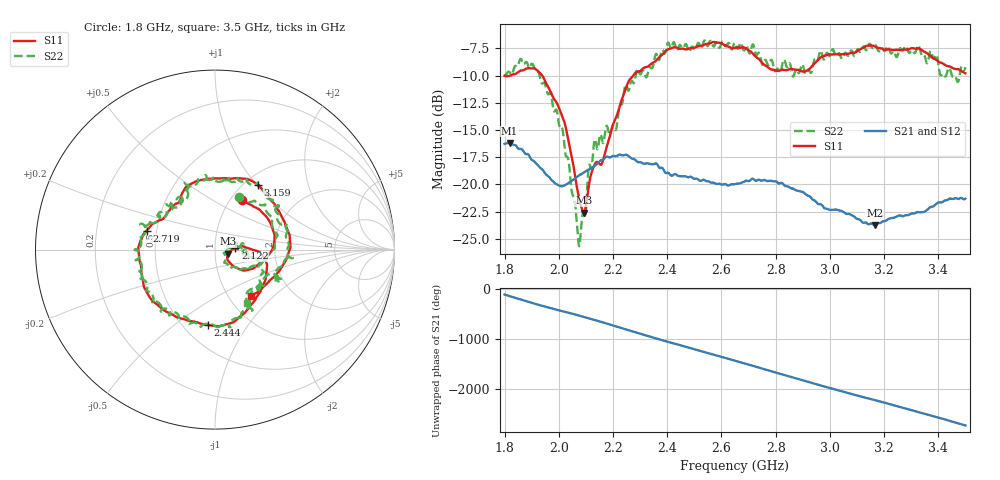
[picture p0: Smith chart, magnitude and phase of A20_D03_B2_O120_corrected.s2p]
! Created with skrf 1.9.0 (http://scikit-rf.org).
# Hz S RI R 50.0
!freq ReS11 ImS11 ReS21 ImS21 ReS12 ImS12 ReS22 ImS22
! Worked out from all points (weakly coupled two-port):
!   1601 points, 1.8 GHz to 3.5 GHz, reference 50 ohm
!   highest |S21| = -16.18 dB at 1.818 GHz (marker M1); lowest = -23.7 dB at 3.165 GHz (marker M2)
!   lowest |S11| = -22.6 dB at 2.092 GHz (marker M3), VSWR 1.16, Z = 57.6 - j2.55 ohm
!   |S11| at or under -10 dB: start of sweep to 1.821 GHz; 1.939 GHz to 2.274 GHz (335.4 MHz wide, 15.9 % of centre)
!   |S22| runs from -25.7 to -6.8 dB; largest |S21 - S12| = 0.0027
!   S11 on the Smith chart (normalised r, x): 1.8 GHz: 1.13, +0.69; 2.122 GHz: 1.26, +0.02; 2.444 GHz: 0.66, -0.67; 2.719 GHz: 0.44, +0.11; 3.159 GHz: 1.15, +1.02; 3.5 GHz: 1.26, -0.72
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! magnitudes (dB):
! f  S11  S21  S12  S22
! 1.8 GHz  -10.0  -16.3  -16.3  -9.9
! 1.818 GHz  -10.0  -16.2  -16.2  -9.7
! 1.903 GHz  -9.3  -17.8  -17.8  -8.9
! 1.968 GHz  -11.4  -19.4  -19.5  -11.6
! 2.015 GHz  -13.9  -20.1  -20.2  -15.1
! 2.072 GHz  -20.9  -19.2  -19.2  -25.3
! 2.084 GHz  -22.1  -19.0  -19.0  -23.5
! 2.092 GHz  -22.6  -18.9  -19.0  -22.7
! 2.122 GHz  -18.8  -18.5  -18.5  -18.3
! 2.162 GHz  -17.9  -17.7  -17.6  -16.2
! 2.209 GHz  -14.0  -17.4  -17.4  -15.0
! 2.259 GHz  -10.5  -17.4  -17.4  -11.3
! 2.367 GHz  -8.4  -18.3  -18.3  -8.5
! 2.444 GHz  -7.5  -19.2  -19.2  -7.3
! 2.65 GHz  -7.5  -20.0  -19.9  -7.0
! 2.719 GHz  -8.1  -19.5  -19.4  -7.3
! 2.803 GHz  -9.5  -19.7  -19.8  -9.4
! 2.934 GHz  -9.1  -21.3  -21.3  -9.6
! 3.159 GHz  -7.2  -23.7  -23.6  -7.4
! 3.165 GHz  -7.3  -23.7  -23.7  -7.2
! 3.217 GHz  -7.6  -23.2  -23.1  -7.4
! 3.5 GHz  -9.8  -21.3  -21.3  -9.2
